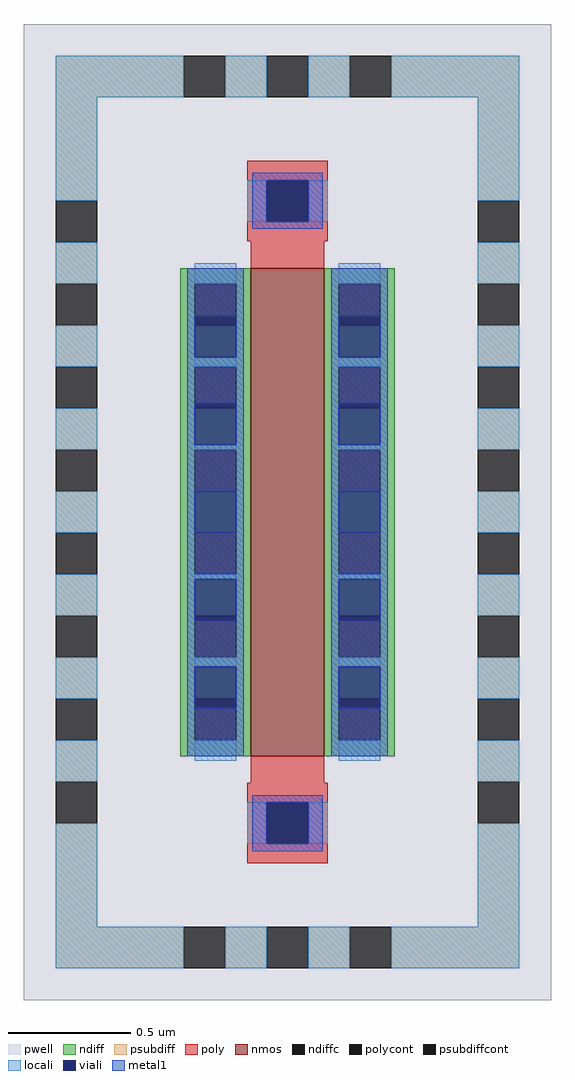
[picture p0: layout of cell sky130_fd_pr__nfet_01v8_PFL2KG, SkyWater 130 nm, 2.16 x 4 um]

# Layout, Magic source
magic
tech sky130A
magscale 1 2
<< pwell >>
rect -216 -400 216 400
<< nmos >>
rect -30 -200 30 200
<< ndiff >>
rect -88 187 -30 200
rect -88 153 -76 187
rect -42 153 -30 187
rect -88 119 -30 153
rect -88 85 -76 119
rect -42 85 -30 119
rect -88 51 -30 85
rect -88 17 -76 51
rect -42 17 -30 51
rect -88 -17 -30 17
rect -88 -51 -76 -17
rect -42 -51 -30 -17
rect -88 -85 -30 -51
rect -88 -119 -76 -85
rect -42 -119 -30 -85
rect -88 -153 -30 -119
rect -88 -187 -76 -153
rect -42 -187 -30 -153
rect -88 -200 -30 -187
rect 30 187 88 200
rect 30 153 42 187
rect 76 153 88 187
rect 30 119 88 153
rect 30 85 42 119
rect 76 85 88 119
rect 30 51 88 85
rect 30 17 42 51
rect 76 17 88 51
rect 30 -17 88 17
rect 30 -51 42 -17
rect 76 -51 88 -17
rect 30 -85 88 -51
rect 30 -119 42 -85
rect 76 -119 88 -85
rect 30 -153 88 -119
rect 30 -187 42 -153
rect 76 -187 88 -153
rect 30 -200 88 -187
<< ndiffc >>
rect -76 153 -42 187
rect -76 85 -42 119
rect -76 17 -42 51
rect -76 -51 -42 -17
rect -76 -119 -42 -85
rect -76 -187 -42 -153
rect 42 153 76 187
rect 42 85 76 119
rect 42 17 76 51
rect 42 -51 76 -17
rect 42 -119 76 -85
rect 42 -187 76 -153
<< psubdiff >>
rect -190 340 -85 374
rect -51 340 -17 374
rect 17 340 51 374
rect 85 340 190 374
rect -190 255 -156 340
rect 156 255 190 340
rect -190 187 -156 221
rect -190 119 -156 153
rect -190 51 -156 85
rect -190 -17 -156 17
rect -190 -85 -156 -51
rect -190 -153 -156 -119
rect -190 -221 -156 -187
rect 156 187 190 221
rect 156 119 190 153
rect 156 51 190 85
rect 156 -17 190 17
rect 156 -85 190 -51
rect 156 -153 190 -119
rect 156 -221 190 -187
rect -190 -340 -156 -255
rect 156 -340 190 -255
rect -190 -374 -85 -340
rect -51 -374 -17 -340
rect 17 -374 51 -340
rect 85 -374 190 -340
<< psubdiffcont >>
rect -85 340 -51 374
rect -17 340 17 374
rect 51 340 85 374
rect -190 221 -156 255
rect 156 221 190 255
rect -190 153 -156 187
rect -190 85 -156 119
rect -190 17 -156 51
rect -190 -51 -156 -17
rect -190 -119 -156 -85
rect -190 -187 -156 -153
rect 156 153 190 187
rect 156 85 190 119
rect 156 17 190 51
rect 156 -51 190 -17
rect 156 -119 190 -85
rect 156 -187 190 -153
rect -190 -255 -156 -221
rect 156 -255 190 -221
rect -85 -374 -51 -340
rect -17 -374 17 -340
rect 51 -374 85 -340
<< poly >>
rect -33 272 33 288
rect -33 238 -17 272
rect 17 238 33 272
rect -33 222 33 238
rect -30 200 30 222
rect -30 -222 30 -200
rect -33 -238 33 -222
rect -33 -272 -17 -238
rect 17 -272 33 -238
rect -33 -288 33 -272
<< polycont >>
rect -17 238 17 272
rect -17 -272 17 -238
<< locali >>
rect -190 340 -85 374
rect -51 340 -17 374
rect 17 340 51 374
rect 85 340 190 374
rect -190 255 -156 340
rect -33 238 -17 272
rect 17 238 33 272
rect 156 255 190 340
rect -190 187 -156 221
rect -190 119 -156 153
rect -190 51 -156 85
rect -190 -17 -156 17
rect -190 -85 -156 -51
rect -190 -153 -156 -119
rect -190 -221 -156 -187
rect -76 187 -42 204
rect -76 119 -42 127
rect -76 51 -42 55
rect -76 -55 -42 -51
rect -76 -127 -42 -119
rect -76 -204 -42 -187
rect 42 187 76 204
rect 42 119 76 127
rect 42 51 76 55
rect 42 -55 76 -51
rect 42 -127 76 -119
rect 42 -204 76 -187
rect 156 187 190 221
rect 156 119 190 153
rect 156 51 190 85
rect 156 -17 190 17
rect 156 -85 190 -51
rect 156 -153 190 -119
rect 156 -221 190 -187
rect -190 -340 -156 -255
rect -33 -272 -17 -238
rect 17 -272 33 -238
rect 156 -340 190 -255
rect -190 -374 -85 -340
rect -51 -374 -17 -340
rect 17 -374 51 -340
rect 85 -374 190 -340
<< viali >>
rect -17 238 17 272
rect -76 153 -42 161
rect -76 127 -42 153
rect -76 85 -42 89
rect -76 55 -42 85
rect -76 -17 -42 17
rect -76 -85 -42 -55
rect -76 -89 -42 -85
rect -76 -153 -42 -127
rect -76 -161 -42 -153
rect 42 153 76 161
rect 42 127 76 153
rect 42 85 76 89
rect 42 55 76 85
rect 42 -17 76 17
rect 42 -85 76 -55
rect 42 -89 76 -85
rect 42 -153 76 -127
rect 42 -161 76 -153
rect -17 -272 17 -238
<< metal1 >>
rect -29 272 29 278
rect -29 238 -17 272
rect 17 238 29 272
rect -29 232 29 238
rect -82 161 -36 200
rect -82 127 -76 161
rect -42 127 -36 161
rect -82 89 -36 127
rect -82 55 -76 89
rect -42 55 -36 89
rect -82 17 -36 55
rect -82 -17 -76 17
rect -42 -17 -36 17
rect -82 -55 -36 -17
rect -82 -89 -76 -55
rect -42 -89 -36 -55
rect -82 -127 -36 -89
rect -82 -161 -76 -127
rect -42 -161 -36 -127
rect -82 -200 -36 -161
rect 36 161 82 200
rect 36 127 42 161
rect 76 127 82 161
rect 36 89 82 127
rect 36 55 42 89
rect 76 55 82 89
rect 36 17 82 55
rect 36 -17 42 17
rect 76 -17 82 17
rect 36 -55 82 -17
rect 36 -89 42 -55
rect 76 -89 82 -55
rect 36 -127 82 -89
rect 36 -161 42 -127
rect 76 -161 82 -127
rect 36 -200 82 -161
rect -29 -238 29 -232
rect -29 -272 -17 -238
rect 17 -272 29 -238
rect -29 -278 29 -272
<< properties >>
string FIXED_BBOX -173 -357 173 357
<< end >>
